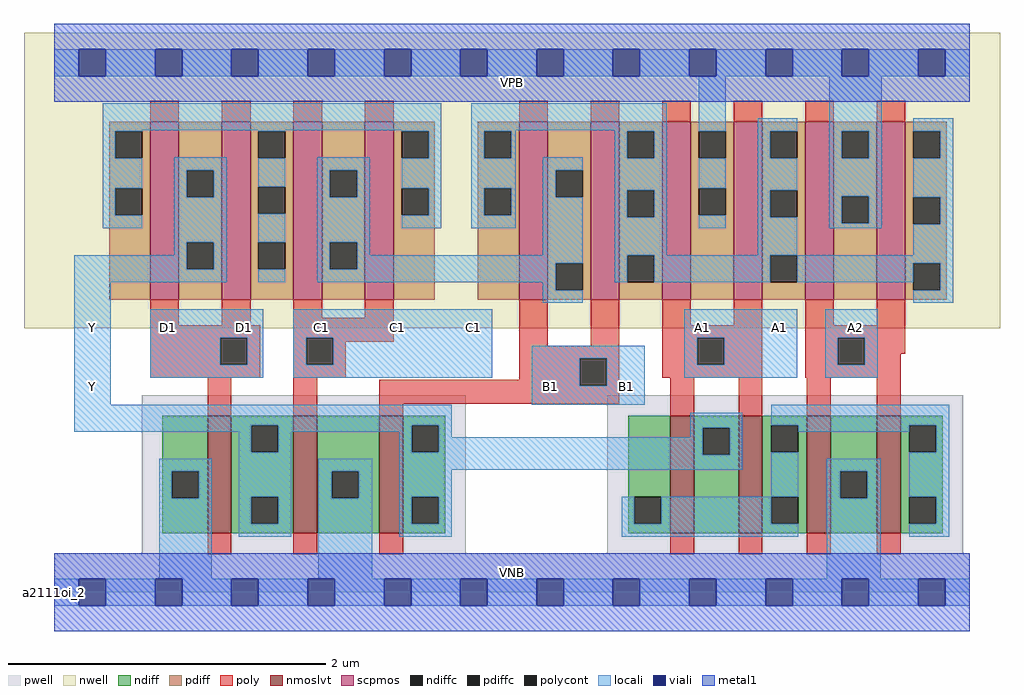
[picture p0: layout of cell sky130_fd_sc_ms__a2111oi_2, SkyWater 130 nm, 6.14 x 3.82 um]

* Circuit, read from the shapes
.subckt sky130_fd_sc_ms__a2111oi_2 A1 A2 B1 C1 D1 VGND VNB VPB VPWR Y
XM1 Y D1 VGND VNB sky130_fd_pr__nfet_01v8_lvt w=0.74 l=0.15
XM2 VGND C1 Y VNB sky130_fd_pr__nfet_01v8_lvt w=0.74 l=0.15
XM3 Y B1 VGND VNB sky130_fd_pr__nfet_01v8_lvt w=0.74 l=0.15
XM4 Y A1 n1 VNB sky130_fd_pr__nfet_01v8_lvt w=0.74 l=0.15 m=2
XM5 VGND A2 n1 VNB sky130_fd_pr__nfet_01v8_lvt w=0.74 l=0.15 m=2
XM6 Y D1 n2 VPB sky130_fd_pr__pfet_01v8 w=1.12 l=0.18 m=2
XM7 n3 C1 n2 VPB sky130_fd_pr__pfet_01v8 w=1.12 l=0.18 m=2
XM8 n3 B1 n4 VPB sky130_fd_pr__pfet_01v8 w=1.12 l=0.18 m=2
XM9 VPWR A1 n4 VPB sky130_fd_pr__pfet_01v8 w=1.12 l=0.18 m=2
XM10 VPWR A2 n4 VPB sky130_fd_pr__pfet_01v8 w=1.12 l=0.18 m=2
.ends

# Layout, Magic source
magic
tech sky130A
magscale 1 2
<< nwell >>
rect -38 332 1190 704
<< pwell >>
rect 110 49 518 248
rect 696 49 1144 248
rect 0 0 1152 49
<< scpmos >>
rect 121 368 157 592
rect 211 368 247 592
rect 301 368 337 592
rect 391 368 427 592
rect 585 368 621 592
rect 675 368 711 592
rect 765 368 801 592
rect 855 368 891 592
rect 945 368 981 592
rect 1035 368 1071 592
<< nmoslvt >>
rect 193 74 223 222
rect 301 74 331 222
rect 409 74 439 222
rect 775 74 805 222
rect 861 74 891 222
rect 947 74 977 222
rect 1035 74 1065 222
<< ndiff >>
rect 136 152 193 222
rect 136 118 148 152
rect 182 118 193 152
rect 136 74 193 118
rect 223 210 301 222
rect 223 176 248 210
rect 282 176 301 210
rect 223 120 301 176
rect 223 86 248 120
rect 282 86 301 120
rect 223 74 301 86
rect 331 152 409 222
rect 331 118 349 152
rect 383 118 409 152
rect 331 74 409 118
rect 439 210 492 222
rect 439 176 450 210
rect 484 176 492 210
rect 439 120 492 176
rect 439 86 450 120
rect 484 86 492 120
rect 439 74 492 86
rect 722 120 775 222
rect 722 86 730 120
rect 764 86 775 120
rect 722 74 775 86
rect 805 207 861 222
rect 805 173 816 207
rect 850 173 861 207
rect 805 74 861 173
rect 891 210 947 222
rect 891 176 902 210
rect 936 176 947 210
rect 891 120 947 176
rect 891 86 902 120
rect 936 86 947 120
rect 891 74 947 86
rect 977 152 1035 222
rect 977 118 989 152
rect 1023 118 1035 152
rect 977 74 1035 118
rect 1065 210 1118 222
rect 1065 176 1076 210
rect 1110 176 1118 210
rect 1065 120 1118 176
rect 1065 86 1076 120
rect 1110 86 1118 120
rect 1065 74 1118 86
<< pdiff >>
rect 69 580 121 592
rect 69 546 77 580
rect 111 546 121 580
rect 69 508 121 546
rect 69 474 77 508
rect 111 474 121 508
rect 69 368 121 474
rect 157 531 211 592
rect 157 497 167 531
rect 201 497 211 531
rect 157 440 211 497
rect 157 406 167 440
rect 201 406 211 440
rect 157 368 211 406
rect 247 580 301 592
rect 247 546 257 580
rect 291 546 301 580
rect 247 510 301 546
rect 247 476 257 510
rect 291 476 301 510
rect 247 440 301 476
rect 247 406 257 440
rect 291 406 301 440
rect 247 368 301 406
rect 337 531 391 592
rect 337 497 347 531
rect 381 497 391 531
rect 337 440 391 497
rect 337 406 347 440
rect 381 406 391 440
rect 337 368 391 406
rect 427 580 479 592
rect 427 546 437 580
rect 471 546 479 580
rect 427 508 479 546
rect 427 474 437 508
rect 471 474 479 508
rect 427 368 479 474
rect 533 580 585 592
rect 533 546 541 580
rect 575 546 585 580
rect 533 508 585 546
rect 533 474 541 508
rect 575 474 585 508
rect 533 368 585 474
rect 621 531 675 592
rect 621 497 631 531
rect 665 497 675 531
rect 621 414 675 497
rect 621 380 631 414
rect 665 380 675 414
rect 621 368 675 380
rect 711 580 765 592
rect 711 546 721 580
rect 755 546 765 580
rect 711 506 765 546
rect 711 472 721 506
rect 755 472 765 506
rect 711 424 765 472
rect 711 390 721 424
rect 755 390 765 424
rect 711 368 765 390
rect 801 580 855 592
rect 801 546 811 580
rect 845 546 855 580
rect 801 508 855 546
rect 801 474 811 508
rect 845 474 855 508
rect 801 368 855 474
rect 891 580 945 592
rect 891 546 901 580
rect 935 546 945 580
rect 891 506 945 546
rect 891 472 901 506
rect 935 472 945 506
rect 891 424 945 472
rect 891 390 901 424
rect 935 390 945 424
rect 891 368 945 390
rect 981 580 1035 592
rect 981 546 991 580
rect 1025 546 1035 580
rect 981 498 1035 546
rect 981 464 991 498
rect 1025 464 1035 498
rect 981 368 1035 464
rect 1071 580 1123 592
rect 1071 546 1081 580
rect 1115 546 1123 580
rect 1071 497 1123 546
rect 1071 463 1081 497
rect 1115 463 1123 497
rect 1071 414 1123 463
rect 1071 380 1081 414
rect 1115 380 1123 414
rect 1071 368 1123 380
<< ndiffc >>
rect 148 118 182 152
rect 248 176 282 210
rect 248 86 282 120
rect 349 118 383 152
rect 450 176 484 210
rect 450 86 484 120
rect 730 86 764 120
rect 816 173 850 207
rect 902 176 936 210
rect 902 86 936 120
rect 989 118 1023 152
rect 1076 176 1110 210
rect 1076 86 1110 120
<< pdiffc >>
rect 77 546 111 580
rect 77 474 111 508
rect 167 497 201 531
rect 167 406 201 440
rect 257 546 291 580
rect 257 476 291 510
rect 257 406 291 440
rect 347 497 381 531
rect 347 406 381 440
rect 437 546 471 580
rect 437 474 471 508
rect 541 546 575 580
rect 541 474 575 508
rect 631 497 665 531
rect 631 380 665 414
rect 721 546 755 580
rect 721 472 755 506
rect 721 390 755 424
rect 811 546 845 580
rect 811 474 845 508
rect 901 546 935 580
rect 901 472 935 506
rect 901 390 935 424
rect 991 546 1025 580
rect 991 464 1025 498
rect 1081 546 1115 580
rect 1081 463 1115 497
rect 1081 380 1115 414
<< poly >>
rect 121 592 157 618
rect 211 592 247 618
rect 301 592 337 618
rect 391 592 427 618
rect 585 592 621 618
rect 675 592 711 618
rect 765 592 801 618
rect 855 592 891 618
rect 945 592 981 618
rect 1035 592 1071 618
rect 121 336 157 368
rect 211 336 247 368
rect 301 345 337 368
rect 391 345 427 368
rect 121 320 259 336
rect 121 286 209 320
rect 243 286 259 320
rect 121 270 259 286
rect 301 320 427 345
rect 301 286 317 320
rect 351 315 427 320
rect 351 286 367 315
rect 301 270 367 286
rect 585 310 621 368
rect 675 310 711 368
rect 585 294 711 310
rect 193 222 223 270
rect 301 222 331 270
rect 585 267 661 294
rect 409 260 661 267
rect 695 260 711 294
rect 765 336 801 368
rect 855 336 891 368
rect 765 320 891 336
rect 765 286 809 320
rect 843 286 891 320
rect 765 270 891 286
rect 945 336 981 368
rect 1035 336 1071 368
rect 945 320 1071 336
rect 945 286 986 320
rect 1020 300 1071 320
rect 1020 286 1065 300
rect 945 270 1065 286
rect 409 237 711 260
rect 409 222 439 237
rect 775 222 805 270
rect 861 222 891 270
rect 947 222 977 270
rect 1035 222 1065 270
rect 193 48 223 74
rect 301 48 331 74
rect 409 48 439 74
rect 775 48 805 74
rect 861 48 891 74
rect 947 48 977 74
rect 1035 48 1065 74
<< polycont >>
rect 209 286 243 320
rect 317 286 351 320
rect 661 260 695 294
rect 809 286 843 320
rect 986 286 1020 320
<< locali >>
rect 0 649 31 683
rect 65 649 127 683
rect 161 649 223 683
rect 257 649 319 683
rect 353 649 415 683
rect 449 649 511 683
rect 545 649 607 683
rect 641 649 703 683
rect 737 649 799 683
rect 833 649 895 683
rect 929 649 991 683
rect 1025 649 1087 683
rect 1121 649 1152 683
rect 61 581 487 615
rect 61 580 111 581
rect 61 546 77 580
rect 257 580 291 581
rect 61 508 111 546
rect 61 474 77 508
rect 61 458 111 474
rect 151 531 217 547
rect 151 497 167 531
rect 201 497 217 531
rect 151 440 217 497
rect 151 424 167 440
rect 25 406 167 424
rect 201 406 217 440
rect 25 390 217 406
rect 437 580 487 581
rect 257 510 291 546
rect 257 440 291 476
rect 257 390 291 406
rect 331 531 397 547
rect 331 497 347 531
rect 381 497 397 531
rect 331 440 397 497
rect 471 546 487 580
rect 437 508 487 546
rect 471 474 487 508
rect 437 458 487 474
rect 525 581 771 615
rect 525 580 581 581
rect 525 546 541 580
rect 575 546 581 580
rect 705 580 771 581
rect 525 508 581 546
rect 525 474 541 508
rect 575 474 581 508
rect 525 458 581 474
rect 615 531 665 547
rect 615 497 631 531
rect 331 406 347 440
rect 381 424 397 440
rect 615 424 665 497
rect 381 414 665 424
rect 381 406 631 414
rect 331 390 631 406
rect 25 236 71 390
rect 615 380 631 390
rect 705 546 721 580
rect 755 546 771 580
rect 705 506 771 546
rect 705 472 721 506
rect 755 472 771 506
rect 705 424 771 472
rect 811 580 845 649
rect 811 508 845 546
rect 811 458 845 474
rect 885 580 935 596
rect 885 546 901 580
rect 885 506 935 546
rect 885 472 901 506
rect 885 424 935 472
rect 975 580 1041 649
rect 975 546 991 580
rect 1025 546 1041 580
rect 975 498 1041 546
rect 975 464 991 498
rect 1025 464 1041 498
rect 975 458 1041 464
rect 1081 580 1131 596
rect 1115 546 1131 580
rect 1081 497 1131 546
rect 1115 463 1131 497
rect 1081 424 1131 463
rect 705 390 721 424
rect 755 390 901 424
rect 935 414 1131 424
rect 935 390 1081 414
rect 615 364 665 380
rect 1115 380 1131 414
rect 1081 364 1131 380
rect 121 320 263 356
rect 121 286 209 320
rect 243 286 263 320
rect 121 270 263 286
rect 301 320 551 356
rect 301 286 317 320
rect 351 286 551 320
rect 793 320 935 356
rect 301 270 551 286
rect 601 294 743 310
rect 601 260 661 294
rect 695 260 743 294
rect 793 286 809 320
rect 843 286 935 320
rect 793 270 935 286
rect 970 320 1036 356
rect 970 286 986 320
rect 1020 286 1036 320
rect 970 270 1036 286
rect 601 236 743 260
rect 25 210 500 236
rect 25 202 248 210
rect 232 176 248 202
rect 282 202 450 210
rect 282 176 298 202
rect 132 152 198 168
rect 132 118 148 152
rect 182 118 198 152
rect 132 17 198 118
rect 232 120 298 176
rect 434 176 450 202
rect 484 195 500 210
rect 800 207 866 226
rect 800 195 816 207
rect 484 176 816 195
rect 434 173 816 176
rect 850 173 866 207
rect 232 86 248 120
rect 282 86 298 120
rect 232 70 298 86
rect 332 152 400 168
rect 332 118 349 152
rect 383 118 400 152
rect 332 17 400 118
rect 434 154 866 173
rect 902 210 1126 236
rect 936 202 1076 210
rect 434 120 500 154
rect 902 120 936 176
rect 1110 176 1126 210
rect 434 86 450 120
rect 484 86 500 120
rect 434 70 500 86
rect 714 86 730 120
rect 764 86 902 120
rect 714 70 936 86
rect 972 152 1040 168
rect 972 118 989 152
rect 1023 118 1040 152
rect 972 17 1040 118
rect 1076 120 1126 176
rect 1110 86 1126 120
rect 1076 70 1126 86
rect 0 -17 31 17
rect 65 -17 127 17
rect 161 -17 223 17
rect 257 -17 319 17
rect 353 -17 415 17
rect 449 -17 511 17
rect 545 -17 607 17
rect 641 -17 703 17
rect 737 -17 799 17
rect 833 -17 895 17
rect 929 -17 991 17
rect 1025 -17 1087 17
rect 1121 -17 1152 17
<< viali >>
rect 31 649 65 683
rect 127 649 161 683
rect 223 649 257 683
rect 319 649 353 683
rect 415 649 449 683
rect 511 649 545 683
rect 607 649 641 683
rect 703 649 737 683
rect 799 649 833 683
rect 895 649 929 683
rect 991 649 1025 683
rect 1087 649 1121 683
rect 31 -17 65 17
rect 127 -17 161 17
rect 223 -17 257 17
rect 319 -17 353 17
rect 415 -17 449 17
rect 511 -17 545 17
rect 607 -17 641 17
rect 703 -17 737 17
rect 799 -17 833 17
rect 895 -17 929 17
rect 991 -17 1025 17
rect 1087 -17 1121 17
<< metal1 >>
rect 0 683 1152 715
rect 0 649 31 683
rect 65 649 127 683
rect 161 649 223 683
rect 257 649 319 683
rect 353 649 415 683
rect 449 649 511 683
rect 545 649 607 683
rect 641 649 703 683
rect 737 649 799 683
rect 833 649 895 683
rect 929 649 991 683
rect 1025 649 1087 683
rect 1121 649 1152 683
rect 0 617 1152 649
rect 0 17 1152 49
rect 0 -17 31 17
rect 65 -17 127 17
rect 161 -17 223 17
rect 257 -17 319 17
rect 353 -17 415 17
rect 449 -17 511 17
rect 545 -17 607 17
rect 641 -17 703 17
rect 737 -17 799 17
rect 833 -17 895 17
rect 929 -17 991 17
rect 1025 -17 1087 17
rect 1121 -17 1152 17
rect 0 -49 1152 -17
<< labels >>
flabel pwell s 0 0 1152 49 0 FreeSans 200 0 0 0 VNB
port 7 nsew ground bidirectional
flabel nwell s 0 617 1152 666 0 FreeSans 200 0 0 0 VPB
port 8 nsew power bidirectional
rlabel comment s 0 0 0 0 4 a2111oi_2
flabel metal1 s 0 617 1152 666 0 FreeSans 340 0 0 0 VPWR
port 9 nsew power bidirectional
flabel metal1 s 0 0 1152 49 0 FreeSans 340 0 0 0 VGND
port 6 nsew ground bidirectional
flabel locali s 127 316 161 350 0 FreeSans 340 0 0 0 D1
port 5 nsew signal input
flabel locali s 223 316 257 350 0 FreeSans 340 0 0 0 D1
port 5 nsew signal input
flabel locali s 607 242 641 276 0 FreeSans 340 0 0 0 B1
port 3 nsew signal input
flabel locali s 703 242 737 276 0 FreeSans 340 0 0 0 B1
port 3 nsew signal input
flabel locali s 31 242 65 276 0 FreeSans 340 0 0 0 Y
port 10 nsew signal output
flabel locali s 31 316 65 350 0 FreeSans 340 0 0 0 Y
port 10 nsew signal output
flabel locali s 319 316 353 350 0 FreeSans 340 0 0 0 C1
port 4 nsew signal input
flabel locali s 415 316 449 350 0 FreeSans 340 0 0 0 C1
port 4 nsew signal input
flabel locali s 511 316 545 350 0 FreeSans 340 0 0 0 C1
port 4 nsew signal input
flabel locali s 991 316 1025 350 0 FreeSans 340 0 0 0 A2
port 2 nsew signal input
flabel locali s 799 316 833 350 0 FreeSans 340 0 0 0 A1
port 1 nsew signal input
flabel locali s 895 316 929 350 0 FreeSans 340 0 0 0 A1
port 1 nsew signal input
<< properties >>
string LEFsite unit
string LEFclass CORE
string FIXED_BBOX 0 0 1152 666
string GDS_FILE $PDKPATH/libs.ref/sky130_fd_sc_ms/gds/sky130_fd_sc_ms.gds
string LEFsymmetry X Y
string GDS_END 2769664
string GDS_START 2760072
<< end >>
